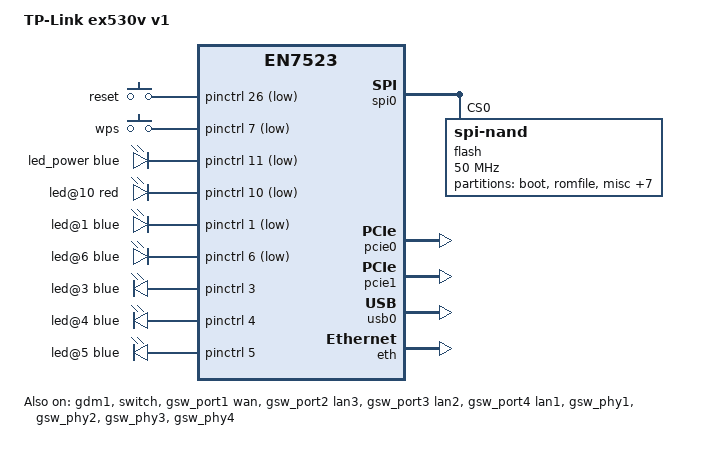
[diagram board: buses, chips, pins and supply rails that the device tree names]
/* SPDX-License-Identifier: GPL-2.0-or-later OR MIT */
/dts-v1/;

#include <dt-bindings/leds/common.h>
#include <dt-bindings/gpio/gpio.h>
#include <dt-bindings/input/input.h>
#include "en7523.dtsi"

/ {
	model = "TP-Link ex530v v1";
	compatible = "tplink,ex530v-v1", "airoha,en7523";

	chosen {
		bootargs = "console=ttyS0,115200 earlycon=uart8250,mmio32,0x1fbf0000 loglevel=8";
		stdout-path = "serial0:115200n8";
	};

	aliases {
		serial0 = &uart1;
		led-boot = &led_power;
		led-failsafe = &led_power;
		led-upgrade = &led_power;
		led-running = &led_power;
	};

	keys {
		compatible = "gpio-keys-polled";
		poll-interval = <100>;

		reset {
			label = "reset";
			linux,code = <KEY_RESTART>;
			gpios = <&pinctrl 26 GPIO_ACTIVE_LOW>;
			debounce-interval = <60>;
		};

		wps {
			label = "wps";
			linux,code = <KEY_WPS_BUTTON>;
			gpios = <&pinctrl 7 GPIO_ACTIVE_LOW>;
			debounce-interval = <60>;
		};
	};

	leds {
		compatible = "gpio-leds";

		/* Power */
		led_power: led@11 {
			color = <LED_COLOR_ID_BLUE>;
			function = LED_FUNCTION_STATUS;
			function-enumerator = <11>;
			gpios = <&pinctrl 11 GPIO_ACTIVE_LOW>;
		};

		/* Internet Status - Red */
		led@10 {
			color = <LED_COLOR_ID_RED>;
			function = LED_FUNCTION_WAN;
			function-enumerator = <10>;
			gpios = <&pinctrl 10 GPIO_ACTIVE_LOW>;
		};

		/* Internet Status - Blue*/
		led@1 {
			color = <LED_COLOR_ID_BLUE>;
			function = LED_FUNCTION_WAN_ONLINE;
			function-enumerator = <1>;
			gpios = <&pinctrl 1 GPIO_ACTIVE_LOW>;
		};

		/* WIFI */
		led@6 {
			color = <LED_COLOR_ID_BLUE>;
			function = LED_FUNCTION_WLAN;
			function-enumerator = <6>;
			gpios = <&pinctrl 6 GPIO_ACTIVE_LOW>;
		};

		/* LAN */
		led@3 {
			color = <LED_COLOR_ID_BLUE>;
			function = LED_FUNCTION_LAN;
			function-enumerator = <3>;
			gpios = <&pinctrl 3 GPIO_ACTIVE_HIGH>;
		};

		/* USB */
		led@4 {
			color = <LED_COLOR_ID_BLUE>;
			function = LED_FUNCTION_USB;
			function-enumerator = <4>;
			gpios = <&pinctrl 4 GPIO_ACTIVE_HIGH>;
		};

		/* FXS1 */
		led@5 {
			color = <LED_COLOR_ID_BLUE>;
			function = LED_FUNCTION_STATUS;
			function-enumerator = <5>;
			gpios = <&pinctrl 5 GPIO_ACTIVE_HIGH>;
		};
	};
};

/*
Old maping NAND

	0x000000000000-0x000000080000 : "boot"
	0x000000080000-0x0000000c0000 : "romfile"
	0x0000000c0000-0x0000004c0000 : "misc" => 0x400000
	0x0000004c0000-0x000002cc0000 : "firmware"
	0x000002cc0000-0x0000054c0000 : "firmware_slave"
	0x000005940000-0x000005980000 : "reserve"
	0x000006000000-0x000012800000 : "container"

---------------------------------------------------------------------

New Maping:
	0x00000000-0x00100000 : BL1 + FIP (BL2 + BL31 + BL33)
	0x00100000-           : UBI (uboot env{1,2} + ART (misc part) + fit (firmware))
*/
&spi0 {
	flash@0 {
		reg = <0>;
		compatible = "spi-nand";
		spi-max-frequency = <50000000>;
		spi-tx-bus-width = <1>;
		spi-rx-bus-width = <2>;

		/*
		 * STOCK TP-Link layout, verified on this unit (raw reads == backups, 0 bad
		 * blocks, vendor BMT has remapped nothing in 0x0..0x5980000). EVERYTHING
		 * read-only: the initramfs must never write the stock flash.
		 * 0x5980000..end is unmapped; the vendor BMT pool lives at the very end.
		 */
		partitions {
			compatible = "fixed-partitions";
			#address-cells = <1>;
			#size-cells = <1>;

			partition@0 {
				label = "boot";
				reg = <0x0 0x80000>;
				read-only;
			};

			partition@80000 {
				label = "romfile";
				reg = <0x80000 0x40000>;
				read-only;
			};

			partition@c0000 {
				label = "misc";
				reg = <0xc0000 0x400000>;
				read-only;

				nvmem-layout {
					compatible = "fixed-layout";
					#address-cells = <1>;
					#size-cells = <1>;

					macaddr: macaddr@8f100 {
						compatible = "mac-base";
						reg = <0x8f100 0x6>;
						#nvmem-cell-cells = <1>;
					};

					/* MT7916 calibration, chip id 0x7916 at +0 */
					eeprom0: eeprom@100000 {
						reg = <0x100000 0x1000>;
					};
				};
			};

			partition@4c0000 {
				label = "stock_kernel";
				reg = <0x4c0000 0x800000>;
				read-only;
			};

			partition@cc0000 {
				label = "stock_rootfs";
				reg = <0xcc0000 0x2000000>;
				read-only;
			};

			/* Slot B (image1) of the vendor dual-image scheme: OpenWrt kernel.
			 * U-Boot "flash tpimg" loads it when bootflag == 1: 0x200 byte
			 * TP header (LE magic 0x03000003 @0, LE FIT size @0x78) + FIT.
			 */
			partition@2cc0000 {
				label = "kernel";
				reg = <0x2cc0000 0x800000>;
			};

			partition@34c0000 {
				label = "stock_rootfs_slave";
				reg = <0x34c0000 0x2000000>;
				read-only;
			};

			/* Vendor boot flag read by "flash tpimg": 8 bytes, byte 7 =
			 * sum of bytes 0..6, image1 (slot B) when bytes 4 and 5 are
			 * non-zero. Written by sysupgrade (ex530v_set_bootflag) or by
			 * "flash bflag 0|1" in U-Boot.
			 */
			partition@5940000 {
				label = "reserve";
				reg = <0x5940000 0x40000>;
			};

			/* Unused by stock firmware (verified erased, no bad blocks).
			 * Ends at the vendor bootflag block. 0x1c000000..0x1d740000 is
			 * left unmapped; the U-Boot BMT pool (0x1d740000..end: RAWB
			 * table first, BMT table in the last block) must never be
			 * written.
			 */
			partition@5980000 {
				label = "ubi";
				reg = <0x5980000 0x16640000>;
			};

			/* Vendor bootflag ("bootflag swap" prints boot_flag_addr
			 * 0x1bfc0000): 8 bytes, byte 7 = sum of bytes 0..6.
			 * image1 (slot B, OpenWrt): 00 00 00 01 01 01 00 03
			 * image0 (slot A, stock):   01 01 01 00 00 00 00 03
			 */
			partition@1bfc0000 {
				label = "bootflag";
				reg = <0x1bfc0000 0x40000>;
			};
		};
	};
};

/* pinctrl-en7523.c has no AIROHA_PINCTRL_CONFS_PCIE_RST_OD table, so the dtsi's
 * drive-open-drain conf returns -EINVAL ("pin_config_set op failed for pin 40/41")
 * and the driver core aborts before mtk-pcie probe() ever runs. Keep the mux only. */
&pcie0_rst_pins {
	/delete-node/ conf;
};

&pcie1_rst_pins {
	/delete-node/ conf;
};

&pcie0 {
	status = "okay";
};

&pcie1 {
	status = "okay";
};

&pcie1_slot1 {
	mt7915@0,0 {
		reg = <0x0000 0 0 0 0>;
		#address-cells = <1>;
		#size-cells = <0>;
		airoha,npu = <&npu>;
		airoha,eth = <&eth>;
		nvmem-cells = <&eeprom0>;
		nvmem-cell-names = "eeprom";

		/* 2.4 GHz */
		band@0 {
			reg = <0>;
			nvmem-cells = <&macaddr 0>;
			nvmem-cell-names = "mac-address";
		};

		/* 5 GHz */
		band@1 {
			reg = <1>;
			nvmem-cells = <&macaddr 2>;
			nvmem-cell-names = "mac-address";
		};
	};
};

&uart1 {
	/* mainline en7523.dtsi value; the fork's 20 MHz makes the 8250 core
	 * write BRDL=11 and silently drop the UART to ~10 kbaud */
	clock-frequency = <1843200>;
};

&pciephy {
	/* phy-airoha-pcie.c looks up the underscore spelling */
	airoha,chip_scu = <&chip_scu>;
};

&npu {
	status = "disabled";
};

&usb0 {
	status = "okay";
};

&i2c0 {
	status = "disabled";
};

&xpon {
	status = "disabled";
};

&eth {
	status = "okay";
};

&gdm1 {
	status = "okay";
	nvmem-cells = <&macaddr 0>;
	nvmem-cell-names = "mac-address";
};

&switch {
	status = "okay";
};

&gsw_port1 {
	label = "wan";
	status = "okay";
};

&gsw_port2 {
	label = "lan3";
	status = "okay";
};

&gsw_port3 {
	label = "lan2";
	status = "okay";
};

&gsw_port4 {
	label = "lan1";
	status = "okay";
};

&gsw_port6 {
};

&gsw_phy1 {
	status = "okay";
};

&gsw_phy2 {
	status = "okay";
};

&gsw_phy3 {
	status = "okay";
};

&gsw_phy4 {
	status = "okay";
};
